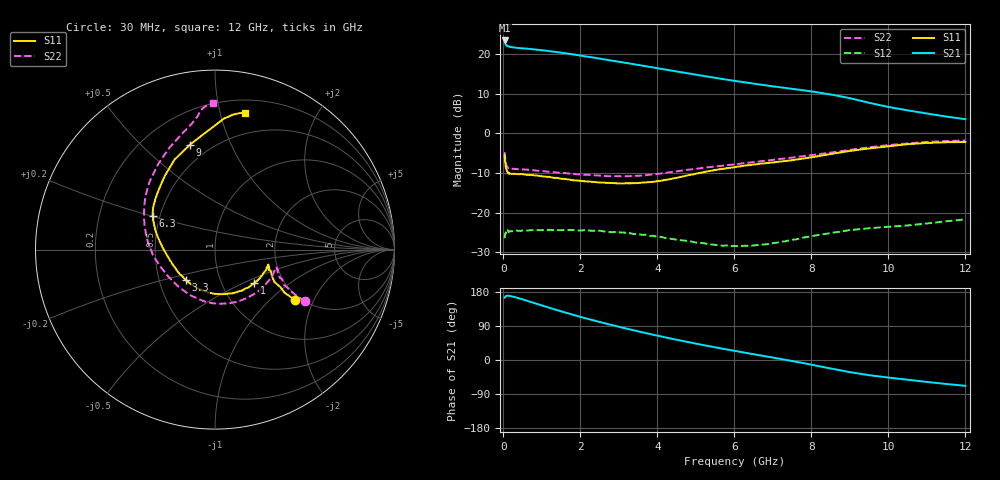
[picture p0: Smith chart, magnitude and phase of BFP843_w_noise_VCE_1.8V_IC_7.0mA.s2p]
! Infineon Technologies  Discrete & RF Semiconductors
! BFP843
! VCE =  1.8 V,  IC =  7.0 mA
! Common Emitter S-Parameters:  Aug 2013
# GHz  S  MA  R  50
!  f  S11  S21  S12  S22
! GHz  MAG  ANG  MAG  ANG  MAG  ANG  MAG  ANG
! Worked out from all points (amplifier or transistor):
!   103 points, 30 MHz to 12 GHz, reference 50 ohm
!   highest |S21| = 23.5 dB at 30 MHz (marker M1)
!   |S21| within 3 dB of that: start of sweep to 1.431 GHz
!   unconditionally stable (mu >= 1): 138.4 MHz to 10.91 GHz
!   at 400 MHz: K = 1.01, MAG = 22.4 dB, |S12| = -24.6 dB
!   at 3.7 GHz: K = 1.27, MAG = 18.2 dB, |S12| = -25.6 dB
!   at 12 GHz: K = 0.83, MSG = 12.7 dB, |S12| = -21.7 dB
!   lowest NFmin = 0.91 dB at 450 MHz
!   S11 on the Smith chart (normalised r, x): 30 MHz: 1.87, -1.47; 1 GHz: 1.42, -0.58; 3.3 GHz: 0.68, -0.24; 6.3 GHz: 0.46, +0.20; 9 GHz: 0.39, +0.71; 12 GHz: 0.31, +1.19
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0.03  0.5293 -32.2  14.96 164.5  0.0474 30.7  0.5807 -29.8
0.04  0.4545 -31.8  14.11 165.3  0.0528 25.4  0.5078 -29.3
0.05  0.4219 -29.9  13.6 167.5  0.0541 25.9  0.4559 -27.7
0.07  0.3567 -26.0  13.01 168.7  0.0554 14.6  0.4092 -23.8
0.13  0.3191 -18.5  12.61 169.7  0.0576 8.6  0.3645 -18.0
0.3  0.3087 -16.6  12.15 165.9  0.059 3.0  0.3551 -17.4
0.6  0.3001 -25.8  11.81 156.8  0.0592 0.0  0.3492 -27.1
1  0.2876 -40.7  11.27 143.9  0.06 -3.1  0.3351 -43.2
1.3  0.2751 -52.2  10.81 134.4  0.06 -5.2  0.3238 -55.6
1.6  0.265 -64.4  10.33 125.4  0.0604 -7.3  0.3155 -67.8
2.1  0.2486 -85.0  9.465 111.1  0.0597 -10.4  0.2996 -87.9
2.6  0.2388 -105.2  8.662 97.8  0.0578 -14.5  0.2907 -107.0
3.3  0.2344 -134.2  7.626 80.4  0.0546 -18.6  0.2891 -133.3
4.1  0.2529 -163.7  6.547 62.0  0.0492 -21.0  0.3119 -159.4
5  0.31 172.2  5.525 43.2  0.0417 -19.6  0.3571 -179.9
6.1  0.3811 154.8  4.545 22.4  0.0376 -8.7  0.4118 161.8
6.3  0.3938 151.9  4.401 18.8  0.0381 -6.8  0.4222 158.6
7.3  0.4473 136.1  3.774 0.9  0.0431 3.0  0.4827 143.7
8.5  0.5494 114.3  3.109 -22.3  0.0551 4.2  0.5725 123.5
9  0.6013 103.4  2.788 -32.0  0.06 1.5  0.6208 114.3
10.5  0.7315 86.1  1.958 -52.0  0.0687 -4.4  0.7466 97.6
12  0.7787 77.7  1.514 -68.2  0.0821 -11.8  0.8142 90.9
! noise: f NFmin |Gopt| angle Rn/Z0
0.45  0.91  0.12  7  0.01
0.9  0.92  0.13  16  0.03
1.5  0.95  0.12  26  0.09
1.9  0.97  0.1  39  0.18
2.4  1.01  0.09  49  0.25
3.5  1.08  0.06  61  0.28
5.5  1.24  0.14  -140  0.35
10  1.91  0.5  -70  0.42
